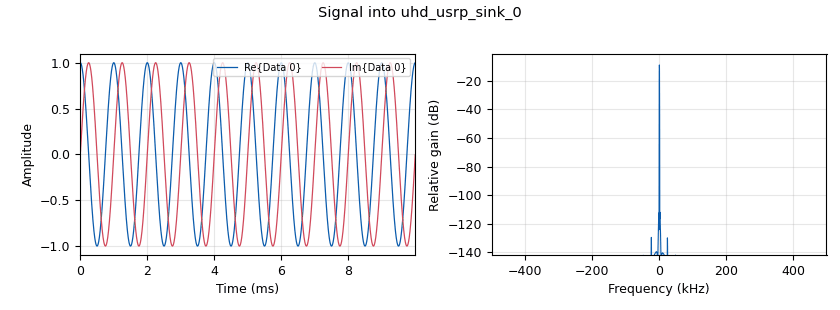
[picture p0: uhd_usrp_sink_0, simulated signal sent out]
options:
  parameters:
    author: root
    generate_options: qt_gui
    id: test
    output_language: python
    title: Not titled yet
  states: {}

blocks:
- name: samp_rate
  id: variable
  parameters:
    value: 1e6
  states: {}
- name: analog_sig_source_x_0
  id: analog_sig_source_x
  parameters:
    amp: '1'
    freq: '1000'
    offset: '0'
    phase: '0'
    samp_rate: samp_rate
    type: complex
    waveform: analog.GR_COS_WAVE
  states: {}
- name: uhd_usrp_sink_0
  id: uhd_usrp_sink
  parameters:
    ant0: '"TX/RX"'
    center_freq0: '0'
    gain0: '0'
    samp_rate: samp_rate
    sync: sync
    type: fc32
  states: {}

connections:
- [analog_sig_source_x_0, '0', uhd_usrp_sink_0, '0']

metadata:
  file_format: 1
  grc_version: 3.10.9.2
